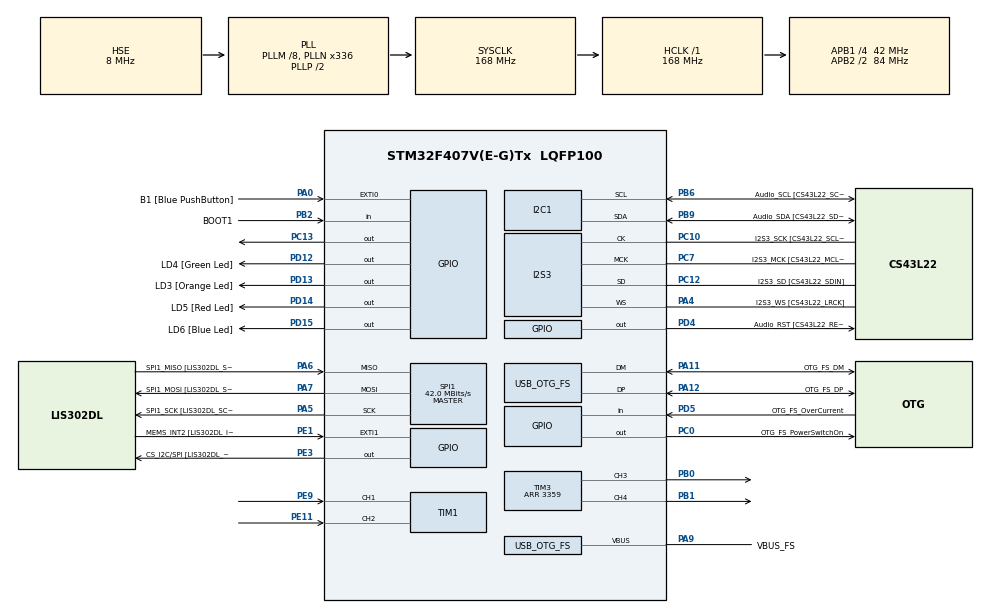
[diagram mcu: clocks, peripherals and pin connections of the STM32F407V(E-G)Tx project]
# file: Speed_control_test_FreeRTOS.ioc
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FREERTOS.Tasks01=myTask02_leds,24,128,StartTask02_leds,Default,NULL,Dynamic,NULL,NULL;myTask01_motorC,48,128,StartTask01_motorC,Default,NULL,Dynamic,NULL,NULL
FREERTOS.Timers01=myTimer01_motorC,Callback01_motorC,osTimerPeriodic,Default,NULL,Dynamic,NULL
FREERTOS.configENABLE_FPU=1
FREERTOS.configTIMER_TASK_PRIORITY=0
I2S3.AudioFreq-Half_Duplex_Master=I2S_AUDIOFREQ_96K
I2S3.ErrorAudioFreq=-2.34 %
I2S3.ErrorAudioFreq-Half_Duplex_Master=0.8 %
I2S3.FullDuplexMode=I2S_FULLDUPLEXMODE_DISABLE
I2S3.Instance=SPI$Index
I2S3.RealAudioFreq=93.75 KHz
I2S3.RealAudioFreq-Half_Duplex_Master=96.774 KHz
I2S3.VirtualMode=I2S_MODE_MASTER
Mcu.Family=STM32F4
Mcu.Name=STM32F407V(E-G)Tx
Mcu.Package=LQFP100
NVIC.OTG_FS_IRQn=true\:5\:0\:false\:false\:true\:true\:true\:true
NVIC.PriorityGroup=NVIC_PRIORITYGROUP_4
NVIC.TIM6_DAC_IRQn=true\:0\:0\:false\:false\:true\:false\:true\:true
NVIC.TimeBase=TIM6_DAC_IRQn
NVIC.TimeBaseIP=TIM6
PA0-WKUP.GPIO_Label=B1 [Blue PushButton]
PA0-WKUP.GPIO_ModeDefaultEXTI=GPIO_MODE_EVT_RISING
PA0-WKUP.GPIO_PuPd=GPIO_NOPULL
PA0-WKUP.Signal=GPXTI0
PA10.GPIO_Label=OTG_FS_ID
PA10.GPIO_Mode=GPIO_MODE_AF_PP
PA10.GPIO_PuPd=GPIO_NOPULL
PA10.GPIO_Speed=GPIO_SPEED_FREQ_LOW
PA10.Signal=USB_OTG_FS_ID
PA11.GPIO_Label=OTG_FS_DM
PA11.GPIO_Mode=GPIO_MODE_AF_PP
PA11.GPIO_PuPd=GPIO_NOPULL
PA11.GPIO_Speed=GPIO_SPEED_FREQ_LOW
PA11.Mode=Host_Only
PA11.Signal=USB_OTG_FS_DM
PA12.GPIO_Label=OTG_FS_DP
PA12.GPIO_Mode=GPIO_MODE_AF_PP
PA12.GPIO_PuPd=GPIO_NOPULL
PA12.GPIO_Speed=GPIO_SPEED_FREQ_LOW
PA12.Mode=Host_Only
PA12.Signal=USB_OTG_FS_DP
PA13.GPIO_Label=SWDIO
PA13.Mode=Serial_Wire
PA13.Signal=SYS_JTMS-SWDIO
PA14.GPIO_Label=SWCLK
PA14.Mode=Serial_Wire
PA14.Signal=SYS_JTCK-SWCLK
PA4.GPIO_Label=I2S3_WS [CS43L22_LRCK]
PA4.GPIO_Mode=GPIO_MODE_AF_PP
PA4.GPIO_PuPd=GPIO_NOPULL
PA4.GPIO_Speed=GPIO_SPEED_FREQ_LOW
PA4.Mode=Half_Duplex_Master
PA4.Signal=I2S3_WS
PA5.GPIO_Label=SPI1_SCK [LIS302DL_SCL/SPC]
PA5.GPIO_Mode=GPIO_MODE_AF_PP
PA5.GPIO_PuPd=GPIO_NOPULL
PA5.GPIO_Speed=GPIO_SPEED_FREQ_LOW
PA5.Mode=Full_Duplex_Master
PA5.Signal=SPI1_SCK
PA6.GPIO_Label=SPI1_MISO [LIS302DL_SDO]
PA6.GPIO_Mode=GPIO_MODE_AF_PP
PA6.GPIO_PuPd=GPIO_NOPULL
PA6.GPIO_Speed=GPIO_SPEED_FREQ_LOW
PA6.Mode=Full_Duplex_Master
PA6.Signal=SPI1_MISO
PA7.GPIO_Label=SPI1_MOSI [LIS302DL_SDA/SDI/SDO]
PA7.GPIO_Mode=GPIO_MODE_AF_PP
PA7.GPIO_PuPd=GPIO_NOPULL
PA7.GPIO_Speed=GPIO_SPEED_FREQ_LOW
PA7.Mode=Full_Duplex_Master
PA7.Signal=SPI1_MOSI
PA9.GPIO_Label=VBUS_FS
PA9.GPIO_Mode=GPIO_MODE_INPUT
PA9.GPIO_PuPd=GPIO_NOPULL
PA9.Mode=Activate_VBUS
PA9.Signal=USB_OTG_FS_VBUS
PB0.GPIO_PuPd=GPIO_NOPULL
PB0.Signal=S_TIM3_CH3
PB1.GPIO_PuPd=GPIO_NOPULL
PB1.Signal=S_TIM3_CH4
PB10.GPIO_Label=CLK_IN [MP45DT02_CLK]
PB10.GPIO_Mode=GPIO_MODE_AF_PP
PB10.GPIO_PuPd=GPIO_NOPULL
PB10.GPIO_Speed=GPIO_SPEED_FREQ_LOW
PB10.Signal=I2S2_CK
PB2.GPIO_Label=BOOT1
PB2.GPIO_Mode=GPIO_MODE_INPUT
PB2.GPIO_PuPd=GPIO_NOPULL
PB2.Signal=GPIO_Input
PB3.GPIO_Label=SWO
PB3.Signal=SYS_JTDO-SWO
PB6.GPIO_Label=Audio_SCL [CS43L22_SCL]
PB6.GPIO_Mode=GPIO_MODE_AF_OD
PB6.GPIO_PuPd=GPIO_NOPULL
PB6.GPIO_Speed=GPIO_SPEED_FREQ_LOW
PB6.Mode=I2C
PB6.Signal=I2C1_SCL
PB9.GPIO_Label=Audio_SDA [CS43L22_SDA]
PB9.GPIO_Mode=GPIO_MODE_AF_OD
PB9.GPIO_PuPd=GPIO_NOPULL
PB9.GPIO_Speed=GPIO_SPEED_FREQ_LOW
PB9.Mode=I2C
PB9.Signal=I2C1_SDA
PC0.GPIO_Label=OTG_FS_PowerSwitchOn
PC0.GPIO_PuPd=GPIO_NOPULL
PC0.GPIO_Speed=GPIO_SPEED_FREQ_LOW
PC0.PinState=GPIO_PIN_SET
PC0.Signal=GPIO_Output
PC10.GPIO_Label=I2S3_SCK [CS43L22_SCLK]
PC10.GPIO_Mode=GPIO_MODE_AF_PP
PC10.GPIO_PuPd=GPIO_NOPULL
PC10.GPIO_Speed=GPIO_SPEED_FREQ_LOW
PC10.Mode=Half_Duplex_Master
PC10.Signal=I2S3_CK
PC12.GPIO_Label=I2S3_SD [CS43L22_SDIN]
PC12.GPIO_Mode=GPIO_MODE_AF_PP
PC12.GPIO_PuPd=GPIO_NOPULL
PC12.GPIO_Speed=GPIO_SPEED_FREQ_LOW
PC12.Mode=Half_Duplex_Master
PC12.Signal=I2S3_SD
PC13-ANTI_TAMP.Signal=GPIO_Output
PC14-OSC32_IN.GPIO_Label=PC14-OSC32_IN
PC14-OSC32_IN.Mode=LSE-External-Oscillator
PC14-OSC32_IN.Signal=RCC_OSC32_IN
PC15-OSC32_OUT.GPIO_Label=PC15-OSC32_OUT
PC15-OSC32_OUT.Mode=LSE-External-Oscillator
PC15-OSC32_OUT.Signal=RCC_OSC32_OUT
PC3.GPIO_Label=PDM_OUT [MP45DT02_DOUT]
PC3.GPIO_Mode=GPIO_MODE_AF_PP
PC3.GPIO_PuPd=GPIO_NOPULL
PC3.GPIO_Speed=GPIO_SPEED_FREQ_LOW
PC3.Signal=I2S2_SD
PC7.GPIO_Label=I2S3_MCK [CS43L22_MCLK]
PC7.GPIO_Mode=GPIO_MODE_AF_PP
PC7.GPIO_PuPd=GPIO_NOPULL
PC7.GPIO_Speed=GPIO_SPEED_FREQ_LOW
PC7.Mode=Master_Clock_Activated
PC7.Signal=I2S3_MCK
PD12.GPIO_Label=LD4 [Green Led]
PD12.GPIO_PuPd=GPIO_NOPULL
PD12.GPIO_Speed=GPIO_SPEED_FREQ_LOW
PD12.Signal=GPIO_Output
PD13.GPIO_Label=LD3 [Orange Led]
PD13.GPIO_PuPd=GPIO_NOPULL
PD13.GPIO_Speed=GPIO_SPEED_FREQ_LOW
PD13.Signal=GPIO_Output
PD14.GPIO_Label=LD5 [Red Led]
PD14.GPIO_PuPd=GPIO_NOPULL
PD14.GPIO_Speed=GPIO_SPEED_FREQ_LOW
PD14.Signal=GPIO_Output
PD15.GPIO_Label=LD6 [Blue Led]
PD15.GPIO_PuPd=GPIO_NOPULL
PD15.GPIO_Speed=GPIO_SPEED_FREQ_LOW
PD15.Signal=GPIO_Output
PD4.GPIO_Label=Audio_RST [CS43L22_RESET]
PD4.GPIO_PuPd=GPIO_NOPULL
PD4.GPIO_Speed=GPIO_SPEED_FREQ_LOW
PD4.Signal=GPIO_Output
PD5.GPIO_Label=OTG_FS_OverCurrent
PD5.GPIO_Mode=GPIO_MODE_INPUT
PD5.GPIO_PuPd=GPIO_NOPULL
PD5.Signal=GPIO_Input
PE1.GPIO_Label=MEMS_INT2 [LIS302DL_INT2]
PE1.GPIO_ModeDefaultEXTI=GPIO_MODE_EVT_RISING
PE1.GPIO_PuPd=GPIO_NOPULL
PE1.Signal=GPXTI1
PE11.GPIO_PuPd=GPIO_NOPULL
PE11.Signal=S_TIM1_CH2
PE3.GPIO_Label=CS_I2C/SPI [LIS302DL_CS_I2C/SPI]
PE3.GPIO_PuPd=GPIO_NOPULL
PE3.GPIO_Speed=GPIO_SPEED_FREQ_LOW
PE3.Signal=GPIO_Output
PE9.GPIO_PuPd=GPIO_NOPULL
PE9.Signal=S_TIM1_CH1
PH0-OSC_IN.GPIO_Label=PH0-OSC_IN
PH0-OSC_IN.Mode=HSE-External-Oscillator
PH0-OSC_IN.Signal=RCC_OSC_IN
PH1-OSC_OUT.GPIO_Label=PH1-OSC_OUT
PH1-OSC_OUT.Mode=HSE-External-Oscillator
PH1-OSC_OUT.Signal=RCC_OSC_OUT
ProjectManager.HeapSize=0x200
ProjectManager.StackSize=0x400
ProjectManager.TargetToolchain=EWARM V8.32
RCC.48MHZClocksFreq_Value=48000000
RCC.AHBFreq_Value=168000000
RCC.APB1CLKDivider=RCC_HCLK_DIV4
RCC.APB1Freq_Value=42000000
RCC.APB1TimFreq_Value=84000000
RCC.APB2CLKDivider=RCC_HCLK_DIV2
RCC.APB2Freq_Value=84000000
RCC.APB2TimFreq_Value=168000000
RCC.CortexFreq_Value=168000000
RCC.HCLKFreq_Value=168000000
RCC.HSE_VALUE=8000000
RCC.HSI_VALUE=16000000
RCC.PLLM=8
RCC.PLLN=336
RCC.PLLQ=7
RCC.SYSCLKFreq_VALUE=168000000
RCC.SYSCLKSource=RCC_SYSCLKSOURCE_PLLCLK
RCC.VCOOutputFreq_Value=336000000
SH.S_TIM1_CH1.0=TIM1_CH1,Encoder_Interface
SH.S_TIM1_CH2.0=TIM1_CH2,Encoder_Interface
SH.S_TIM3_CH3.0=TIM3_CH3,PWM Generation3 CH3
SH.S_TIM3_CH4.0=TIM3_CH4,PWM Generation4 CH4
SPI1.BaudRatePrescaler=SPI_BAUDRATEPRESCALER_2
SPI1.BaudRatePrescaler-Full_Duplex_Master=SPI_BAUDRATEPRESCALER_2
SPI1.CalculateBaudRate=42.0 MBits/s
SPI1.CalculateBaudRate-Full_Duplex_Master=42.0 MBits/s
SPI1.Direction=SPI_DIRECTION_2LINES
SPI1.Mode=SPI_MODE_MASTER
SPI1.Mode-Full_Duplex_Master=SPI_MODE_MASTER
SPI1.VirtualType=VM_MASTER
TIM1.AutoReloadPreload=TIM_AUTORELOAD_PRELOAD_ENABLE
TIM1.EncoderMode=TIM_ENCODERMODE_TI12
TIM3.AutoReloadPreload=TIM_AUTORELOAD_PRELOAD_ENABLE
TIM3.Channel-PWM\ Generation3\ CH3=TIM_CHANNEL_3
TIM3.Channel-PWM\ Generation4\ CH4=TIM_CHANNEL_4
TIM3.Period=3359
USB_OTG_FS.VirtualMode=Host_Only
USB_OTG_FS.phy_itface=HCD_PHY_EMBEDDED
VP_FREERTOS_VS_CMSIS_V2.Mode=CMSIS_V2
VP_SYS_VS_tim6.Mode=TIM6
board=STM32F407G-DISC1

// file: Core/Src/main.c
/* USER CODE BEGIN Header */
/**
  ******************************************************************************
  * @file           : main.c
  * @brief          : Main program body
  ******************************************************************************
  * @attention
  *
  * <h2><center>&copy; Copyright (c) 2021 STMicroelectronics.
  * All rights reserved.</center></h2>
  *
  * This software component is licensed by ST under Ultimate Liberty license
  * SLA0044, the "License"; You may not use this file except in compliance with
  * the License. You may obtain a copy of the License at:
  *                             www.st.com/SLA0044
  *
  ******************************************************************************
  */
/* USER CODE END Header */
#include "main.h"
#include "cmsis_os.h"
#include "i2c.h"
#include "i2s.h"
#include "spi.h"
#include "tim.h"
#include "usb_otg.h"
#include "gpio.h"

void SystemClock_Config(void);
void MX_FREERTOS_Init(void);

int main(void)
{

  /* MCU Configuration--------------------------------------------------------*/

  /* Reset of all peripherals, Initializes the Flash interface and the Systick. */
  HAL_Init();

  /* Configure the system clock */
  SystemClock_Config();

  /* Initialize all configured peripherals */
  MX_GPIO_Init();
  MX_I2C1_Init();
  MX_I2S3_Init();
  MX_SPI1_Init();
  MX_TIM1_Init();
  MX_TIM3_Init();
  MX_USB_OTG_FS_HCD_Init();

  /* Init scheduler */
  osKernelInitialize();  /* Call init function for freertos objects (in freertos.c) */
  MX_FREERTOS_Init();
  /* Start scheduler */
  osKernelStart();

  /* We should never get here as control is now taken by the scheduler */
  /* Infinite loop */
  while (1)
  {

  }
}

void SystemClock_Config(void)
{
  RCC_OscInitTypeDef RCC_OscInitStruct = {0};
  RCC_ClkInitTypeDef RCC_ClkInitStruct = {0};
  RCC_PeriphCLKInitTypeDef PeriphClkInitStruct = {0};

  /** Configure the main internal regulator output voltage
  */
  __HAL_RCC_PWR_CLK_ENABLE();
  __HAL_PWR_VOLTAGESCALING_CONFIG(PWR_REGULATOR_VOLTAGE_SCALE1);
  /** Initializes the RCC Oscillators according to the specified parameters
  * in the RCC_OscInitTypeDef structure.
  */
  RCC_OscInitStruct.OscillatorType = RCC_OSCILLATORTYPE_HSE;
  RCC_OscInitStruct.HSEState = RCC_HSE_ON;
  RCC_OscInitStruct.PLL.PLLState = RCC_PLL_ON;
  RCC_OscInitStruct.PLL.PLLSource = RCC_PLLSOURCE_HSE;
  RCC_OscInitStruct.PLL.PLLM = 8;
  RCC_OscInitStruct.PLL.PLLN = 336;
  RCC_OscInitStruct.PLL.PLLP = RCC_PLLP_DIV2;
  RCC_OscInitStruct.PLL.PLLQ = 7;
  if (HAL_RCC_OscConfig(&RCC_OscInitStruct) != HAL_OK)
  {
    Error_Handler();
  }
  /** Initializes the CPU, AHB and APB buses clocks
  */
  RCC_ClkInitStruct.ClockType = RCC_CLOCKTYPE_HCLK|RCC_CLOCKTYPE_SYSCLK
                              |RCC_CLOCKTYPE_PCLK1|RCC_CLOCKTYPE_PCLK2;
  RCC_ClkInitStruct.SYSCLKSource = RCC_SYSCLKSOURCE_PLLCLK;
  RCC_ClkInitStruct.AHBCLKDivider = RCC_SYSCLK_DIV1;
  RCC_ClkInitStruct.APB1CLKDivider = RCC_HCLK_DIV4;
  RCC_ClkInitStruct.APB2CLKDivider = RCC_HCLK_DIV2;

  if (HAL_RCC_ClockConfig(&RCC_ClkInitStruct, FLASH_LATENCY_5) != HAL_OK)
  {
    Error_Handler();
  }
  PeriphClkInitStruct.PeriphClockSelection = RCC_PERIPHCLK_I2S;
  PeriphClkInitStruct.PLLI2S.PLLI2SN = 192;
  PeriphClkInitStruct.PLLI2S.PLLI2SR = 2;
  if (HAL_RCCEx_PeriphCLKConfig(&PeriphClkInitStruct) != HAL_OK)
  {
    Error_Handler();
  }
}

 /**
  * @brief  Period elapsed callback in non blocking mode
  * @note   This function is called  when TIM6 interrupt took place, inside
  * HAL_TIM_IRQHandler(). It makes a direct call to HAL_IncTick() to increment
  * a global variable "uwTick" used as application time base.
  * @param  htim : TIM handle
  * @retval None
  */
void HAL_TIM_PeriodElapsedCallback(TIM_HandleTypeDef *htim)
{
  if (htim->Instance == TIM6) {
    HAL_IncTick();
  }
}

void Error_Handler(void)
{
  __disable_irq();
  while (1)
  {
  }
}

/************************ (C) COPYRIGHT STMicroelectronics *****END OF FILE****/

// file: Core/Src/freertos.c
/* USER CODE BEGIN Header */
/**
******************************************************************************
* File Name          : freertos.c
* Description        : Code for freertos applications
******************************************************************************
* @attention
*
* <h2><center>&copy; Copyright (c) 2021 STMicroelectronics.
* All rights reserved.</center></h2>
*
* This software component is licensed by ST under Ultimate Liberty license
* SLA0044, the "License"; You may not use this file except in compliance with
* the License. You may obtain a copy of the License at:
*                             www.st.com/SLA0044
*
******************************************************************************
*/
/* USER CODE END Header */

#include "FreeRTOS.h"
#include "task.h"
#include "main.h"
#include "cmsis_os.h"

/* USER CODE BEGIN Includes */
#include "tawan_joseph_encoder_drive.h"
/* USER CODE END Includes */

/* USER CODE BEGIN Variables */
Encoder_Struct encoder1;
DRV_Struct drive1 = {&TIM3->CCR3, &TIM3->CCR4, 1, DIR_STOP, 0, 0};
Controller_PI_Struct controller1 = {1.0,0.28,{0,0},{0,0},1,0,0,0};

/* USER CODE END Variables */
/* Definitions for myTask02_leds */
osThreadId_t myTask02_ledsHandle;
const osThreadAttr_t myTask02_leds_attributes = {
  .name = "myTask02_leds",
  .priority = (osPriority_t) osPriorityNormal,
  .stack_size = 128 * 4
};
/* Definitions for myTask01_motorC */
osThreadId_t myTask01_motorCHandle;
const osThreadAttr_t myTask01_motorC_attributes = {
  .name = "myTask01_motorC",
  .priority = (osPriority_t) osPriorityRealtime,
  .stack_size = 128 * 4
};
/* Definitions for myTimer01_motorC */
osTimerId_t myTimer01_motorCHandle;
const osTimerAttr_t myTimer01_motorC_attributes = {
  .name = "myTimer01_motorC"
};

void StartTask02_leds(void *argument);
void StartTask01_motorC(void *argument);
void Callback01_motorC(void *argument);

void MX_FREERTOS_Init(void); /* (MISRA C 2004 rule 8.1) */

void MX_FREERTOS_Init(void) {
  /* USER CODE BEGIN Init */
  HAL_TIM_Encoder_Start(&htim1, TIM_CHANNEL_ALL);
  //HAL_GPIO_WritePin(GPIOC, GPIO_PIN_13, GPIO_PIN_SET);
  HAL_TIM_PWM_Start(&htim3, TIM_CHANNEL_3);
  HAL_TIM_PWM_Start(&htim3, TIM_CHANNEL_4);
  /* USER CODE END Init */

  /* Create the timer(s) */
  /* creation of myTimer01_motorC */
  myTimer01_motorCHandle = osTimerNew(Callback01_motorC, osTimerPeriodic, NULL, &myTimer01_motorC_attributes);

  /* Create the thread(s) */
  /* creation of myTask02_leds */
  myTask02_ledsHandle = osThreadNew(StartTask02_leds, NULL, &myTask02_leds_attributes);

  /* creation of myTask01_motorC */
  myTask01_motorCHandle = osThreadNew(StartTask01_motorC, NULL, &myTask01_motorC_attributes);

}

void StartTask02_leds(void *argument)
{
  /* USER CODE BEGIN StartTask02_leds */
  /* Infinite loop */
  for(;;)
  {
    osDelay(1); //must not leave this loop empty
  }
  /* USER CODE END StartTask02_leds */
}

void StartTask01_motorC(void *argument)
{
  /* USER CODE BEGIN StartTask01_motorC */
  osTimerStart(myTimer01_motorCHandle, 10); // 10 ms = 100 Hz
  //static uint32_t count_delay;
  /* Infinite loop */

  for(;;)
  {
    //count_delay++;
    osDelay(10);
  }

  /* USER CODE END StartTask01_motorC */
}

/* Callback01_motorC function */
void Callback01_motorC(void *argument)
{
  /* USER CODE BEGIN Callback01_motorC */
  //static uint32_t countX;
  //countX++;
  static float set_speed;
  static float control_speed;
  static float control_duty;
  static uint8_t enable_prev;
  // acquire data from encoder
  encoder1.cnt_current = TIM1->CNT; // update encoder current position
  calculate_encoder_data(&encoder1);
  //check drive enable status
  if(drive1.enable != enable_prev)
  {
    if(drive1.enable)
      drv_set_enable(&drive1, GPIOC, GPIO_PIN_13);
    else
      drv_set_disable(&drive1, GPIOC, GPIO_PIN_13);
    enable_prev = drive1.enable;
  }
  if(drive1.enable)
  {
    // calculate controlled motor speed
    update_controller_PI(&controller1, set_speed, encoder1.w_speed, &control_speed); //update control_speed
    control_duty = ctrlSpeed_to_dutyCycle(control_speed);
    //command controlled speed to the motor
    drv_set_dutycycle(control_duty, &drive1);
  }
    /* USER CODE END Callback01_motorC */
}

/************************ (C) COPYRIGHT STMicroelectronics *****END OF FILE****/
